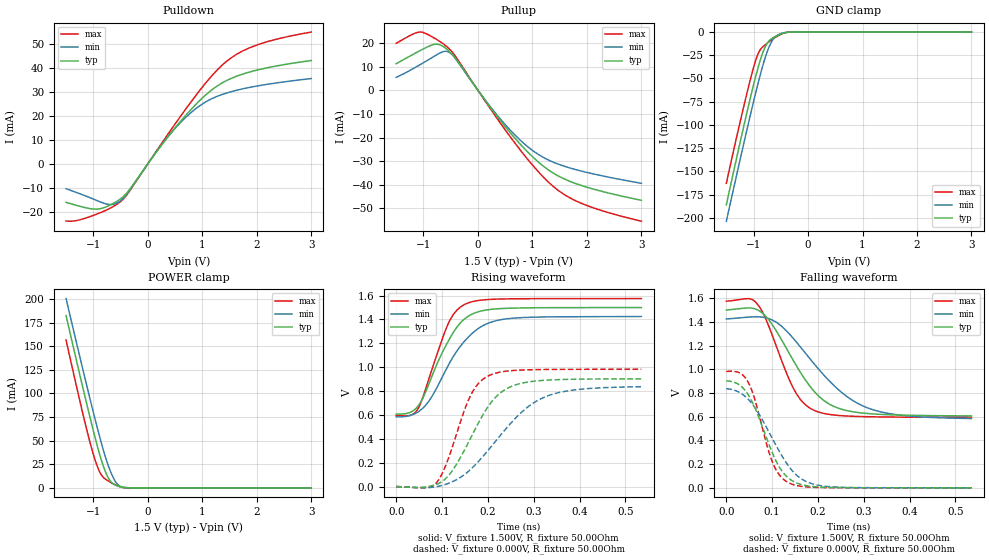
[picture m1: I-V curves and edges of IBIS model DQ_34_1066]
| [Disclaimer]  This software code and all associated documentation, comments
| or other information (collectively "Software") is provided
| "AS IS" without warranty of any kind. MICRON TECHNOLOGY, INC.
| ("MTI") EXPRESSLY DISCLAIMS ALL WARRANTIES EXPRESS OR IMPLIED,
| INCLUDING BUT NOT LIMITED TO, NONINFRINGEMENT OF THIRD PARTY
| RIGHTS, AND ANY IMPLIED WARRANTIES OF MERCHANTABILITY OR
| FITNESS FOR ANY PARTICULAR PURPOSE. MTI DOES NOT WARRANT THAT
| THE SOFTWARE WILL MEET YOUR REQUIREMENTS, OR THAT THE
| OPERATION OF THE SOFTWARE WILL BE UNINTERRUPTED OR ERROR-FREE.
| FURTHERMORE, MTI DOES NOT MAKE ANY REPRESENTATIONS REGARDING
| THE USE OR THE RESULTS OF THE USE OF THE SOFTWARE IN TERMS OF
| ITS CORRECTNESS, ACCURACY, RELIABILITY, OR OTHERWISE. THE
| ENTIRE RISK ARISING OUT OF USE OR PERFORMANCE OF THE SOFTWARE
| REMAINS WITH YOU. IN NO EVENT SHALL MTI, ITS AFFILIATED
| COMPANIES OR THEIR SUPPLIERS BE LIABLE FOR ANY DIRECT,
| INDIRECT, CONSEQUENTIAL, INCIDENTAL, OR SPECIAL DAMAGES
| (INCLUDING, WITHOUT LIMITATION, DAMAGES FOR LOSS OF PROFITS,
| BUSINESS INTERRUPTION, OR LOSS OF INFORMATION) ARISING OUT OF
| YOUR USE OF OR INABILITY TO USE THE SOFTWARE, EVEN IF MTI HAS
| BEEN ADVISED OF THE POSSIBILITY OF SUCH DAMAGES. Because some
| jurisdictions prohibit the exclusion or limitation of
| liability for consequential or incidental damages, the above
| limitation may not apply to you.
| [Copyright] Copyright 2015 Micron Technology, Inc. All rights reserved.
| From v00h_it.ibs, Micron Technology,Inc.
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| MODEL DQ_34_1066 (34 Ohm Data I/O with no ODT, 800/1066Mbps)
[Model]   DQ_34_1066
Model_type   I/O
Vinl = 575.000mV
Vinh = 925.000mV
Vmeas = 750.000mV
Vref = 750.000mV
Cref = 0.0pF
Rref = 25.000Ohm
|   typ   min   max
|C_comp   1.100pF   1.025pF   1.175pF
C_comp_pullup   0.5500pF   0.5125pF   0.5875pF
C_comp_pulldown   0.5500pF   0.5125pF   0.5875pF
[Model Spec]
| Input threshold voltage corners
Vinl   0.5750V   0.5375V   0.6125V
Vinh   0.9250V   0.8875V   0.9625V
| Measurement voltage corners
Vmeas   0.7500V   0.7125V   0.7875V
| Timing spec test load voltage corners
Vref   0.7500V   0.7125V   0.7875V
| Dynamic Overshoot Parameters from DDR3 Specification
|D_overshoot_ampl_h   0.40   NA   NA
|D_overshoot_ampl_l   0.40   NA   NA
|D_overshoot_area_h   0.19n   NA   NA
|D_overshoot_area_l   0.19n   NA   NA
[Receiver Thresholds]
Vth   =  0.750V
Vth_min  =  0.7350V
Vth_max  =  0.7650V
Vinh_ac  =  0.175V
Vinh_dc  =  0.100V
Vinl_ac  = -0.175V
Vinl_dc  = -0.100V
Tslew_ac =  5.000ns |Not specified, so set to high value
Threshold_sensitivity = 0.50
Reference_supply Pullup_ref
[Voltage Range]   1.5000V   1.4250V   1.5750V
[Pullup Reference]   1.5000V   1.4250V   1.5750V
| Junction Temperature (Ambient temp is 35C typ, 95C min, -40C max)
[Temperature Range]   50.0   110.0   -40.0
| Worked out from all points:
|   slope of the pulldown table from 0 to 0.225 V, typ, clamps not added: 32.2 ohm
|   slope of the pullup table from 0 to 0.225 V, typ, clamps not added: 31.5 ohm
|   GND clamp passes 1 mA (typ) near -0.44 V on its own axis
|   POWER clamp passes 1 mA (typ) near -0.50 V on its own axis
|   falling waveform, V_fixture 1.500V, R_fixture 50.00Ohm: 20-80 % time 89.1ps typ, 123ps min, 62.5ps max; typ from 1.5 V to 0.607 V
|   rising waveform, V_fixture 1.500V, R_fixture 50.00Ohm: 20-80 % time 66.5ps typ, 81.1ps min, 53.3ps max; typ from 0.607 V to 1.5 V
|   rising waveform, V_fixture 0.000V, R_fixture 50.00Ohm: 20-80 % time 80.2ps typ, 119ps min, 55.4ps max; typ from 0 V to 0.903 V
|   falling waveform, V_fixture 0.000V, R_fixture 50.00Ohm: 20-80 % time 58.2ps typ, 75.4ps min, 44ps max; typ from 0.903 V to 0 V
[Pulldown]
|   Voltage   I(typ)   I(min)   I(max)
-1.5V     -16.01mA   -10.35mA   -23.81mA
-935mV    -18.86mA   -15.26mA   -20.91mA
-710mV    -17.35mA   -16.9mA    -18.67mA
-560mV    -15.49mA   -16.24mA   -16.71mA
-365mV    -11.58mA   -12.02mA   -12.29mA
195mV     6.08mA     6.154mA    6.558mA
595mV     17.54mA    17.06mA    19.6mA
995mV     27.25mA    24.81mA    31.74mA
1.39V     33.99mA    29.06mA    41.59mA
1.705V    37.07mA    31.02mA    46.54mA
2.025V    39.13mA    32.47mA    49.63mA
3V        43.01mA    35.5mA     54.85mA
[GND Clamp]
|   Voltage   I(typ)   I(min)   I(max)
-1.5V     -186mA     -203.8mA   -162.9mA
-1.33V    -140.6mA   -159mA     -118mA
-1.16V    -96.29mA   -115mA     -75.17mA
-1.025V   -62.75mA   -81.02mA   -43.46mA
-955mV    -46.52mA   -64.07mA   -29.42mA
-875mV    -29.9mA    -45.65mA   -18.9mA
-780mV    -15.32mA   -26.33mA   -13.39mA
-690mV    -8.081mA   -12.81mA   -9.414mA
-595mV    -4.546mA   -4.833mA   -5.588mA
-495mV    -1.973mA   -1.623mA   -2.281mA
-350mV    -169.9uA   -150.1uA   -108.9uA
3V        0A         0A         0A
[Pullup]
|   Voltage   I(typ)   I(min)   I(max)
-1.5V     11.25mA    5.485mA    19.87mA
-1.04V    17.06mA    11.13mA    24.66mA
-750mV    19.53mA    15.11mA    21.41mA
-540mV    16.84mA    16.23mA    17.87mA
-430mV    14.12mA    13.92mA    15mA
175mV     -5.578mA   -5.368mA   -6.004mA
570mV     -17.31mA   -16.29mA   -18.96mA
965mV     -27.3mA    -24.82mA   -30.65mA
1.32V     -34.12mA   -29.79mA   -39.42mA
1.58V     -37.47mA   -32.1mA    -44.06mA
1.91V     -40.38mA   -34.26mA   -47.95mA
3V        -46.59mA   -39.4mA    -55.45mA
[POWER Clamp]
|   Voltage   I(typ)   I(min)   I(max)
-1.5V     182.5mA    200.5mA    156.6mA
-1.13V    91.09mA    110.6mA    63.67mA
-1.025V   66.3mA     85.93mA    40.54mA
-940mV    47.17mA    66.52mA    24.81mA
-845mV    27.99mA    45.93mA    13.09mA
-735mV    11.71mA    25.19mA    7.634mA
-680mV    6.638mA    16.76mA    5.727mA
-625mV    3.817mA    9.777mA    3.983mA
-535mV    1.566mA    2.695mA    1.641mA
-455mV    515.8uA    642.7uA    415.3uA
-305mV    19.82uA    29.17uA    4.376uA
3V        0A         0A         0A
[Ramp]
R_load = 50.00Ohm
|   typ   min   max
dV/dt_r   541.763mV/80.160ps  502.149mV/119.265ps 589.671mV/55.408ps
dV/dt_f   535.788mV/89.020ps  504.293mV/122.720ps 587.971mV/62.502ps
[Falling Waveform]
V_fixture = 1.500V
V_fixture_min = 1.425V
V_fixture_max = 1.575V
R_fixture = 50.00Ohm
|   Time   V(typ)   V(min)   V(max)
0s        1.5V       1.425V     1.575V
49ps      1.518V     1.441V     1.597V
68ps      1.502V     1.443V     1.549V
98ps      1.389V     1.42V      1.31V
147ps     1.069V     1.257V     835.4mV
167ps     942.4mV    1.163V     721.9mV
190ps     821.3mV    1.054V     656.8mV
237ps     683.1mV    855.4mV    613.6mV
313ps     625.6mV    667.9mV    599.8mV
535ps     607mV      584.5mV    595.1mV
[Rising Waveform]
V_fixture = 1.500V
V_fixture_min = 1.425V
V_fixture_max = 1.575V
R_fixture = 50.00Ohm
|   Time   V(typ)   V(min)   V(max)
0s        607mV      584.5mV    595.1mV
31ps      623mV      596.3mV    598.2mV
46ps      666.8mV    621.8mV    642.9mV
74ps      886.2mV    731.5mV    934.1mV
113ps     1.214V     1.011V     1.36V
130ps     1.322V     1.122V     1.467V
151ps     1.411V     1.226V     1.529V
192ps     1.476V     1.354V     1.565V
241ps     1.494V     1.406V     1.573V
535ps     1.5V       1.425V     1.575V
[Rising Waveform]
V_fixture = 0.000V
V_fixture_min = 0.000V
V_fixture_max = 0.000V
R_fixture = 50.00Ohm
|   Time   V(typ)   V(min)   V(max)
0s        -18.79uV   -18.56uV   -17.06uV
67ps      -1.211mV   -9.186mV   -9.551mV
88ps      18.45mV    -883.5uV   32.61mV
121ps     125.5mV    38.14mV    314.4mV
162ps     403.3mV    142.5mV    760.7mV
202ps     678.4mV    310.6mV    929.3mV
249ps     835.6mV    526.3mV    970.7mV
326ps     891.1mV    753.3mV    981.1mV
399ps     900.1mV    814.6mV    982.5mV
535ps     902.9mV    836.9mV    982.8mV
[Falling Waveform]
V_fixture = 0.000V
V_fixture_min = 0.000V
V_fixture_max = 0.000V
R_fixture = 50.00Ohm
|   Time   V(typ)   V(min)   V(max)
0s        902.9mV    836.9mV    982.8mV
29ps      867.1mV    804.4mV    970mV
47ps      790mV      750.3mV    895.5mV
61ps      687mV      684.4mV    760.9mV
101ps     290.4mV    412.1mV    213.8mV
117ps     167mV      298.8mV    102.9mV
137ps     77.98mV    177.7mV    40.76mV
171ps     20.88mV    59.33mV    9.217mV
216ps     4.421mV    13.02mV    1.925mV
535ps     -18.79uV   -18.56uV   -17.06uV
